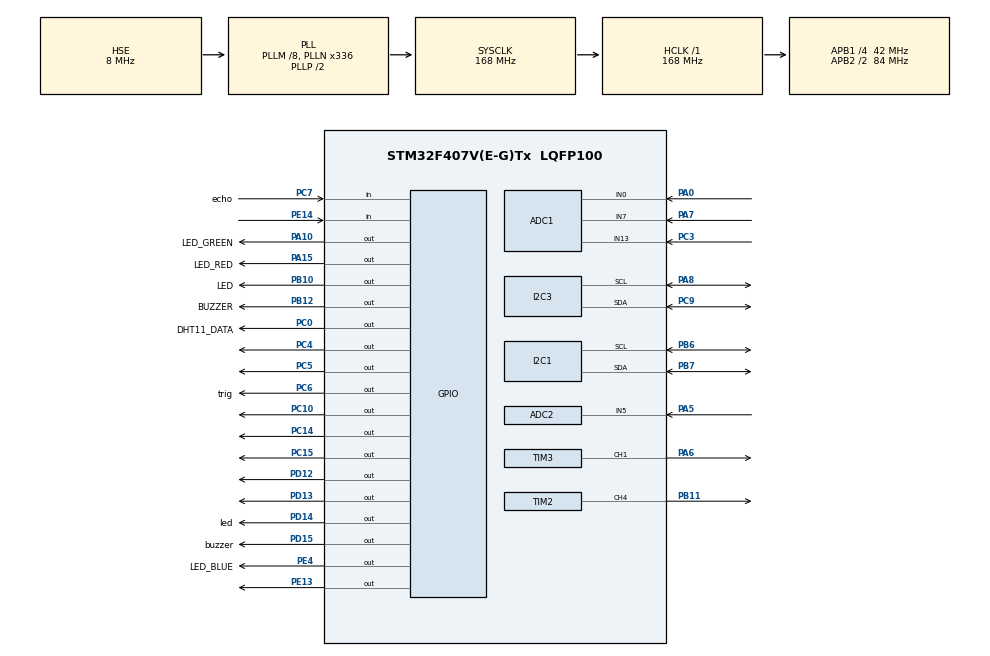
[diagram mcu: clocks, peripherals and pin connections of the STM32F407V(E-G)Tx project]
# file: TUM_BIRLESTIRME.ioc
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ADC1.Channel-0\#ChannelRegularConversion=ADC_CHANNEL_13
ADC1.ContinuousConvMode=ENABLE
ADC1.NbrOfConversionFlag=1
ADC1.Rank-0\#ChannelRegularConversion=1
ADC1.SamplingTime-0\#ChannelRegularConversion=ADC_SAMPLETIME_56CYCLES
ADC1.master=1
ADC2.Channel-0\#ChannelRegularConversion=ADC_CHANNEL_5
ADC2.ContinuousConvMode=ENABLE
ADC2.NbrOfConversionFlag=1
ADC2.Rank-0\#ChannelRegularConversion=1
ADC2.SamplingTime-0\#ChannelRegularConversion=ADC_SAMPLETIME_480CYCLES
Mcu.Family=STM32F4
Mcu.Name=STM32F407V(E-G)Tx
Mcu.Package=LQFP100
NVIC.PriorityGroup=NVIC_PRIORITYGROUP_4
PA0-WKUP.Signal=ADCx_IN0
PA10.GPIO_Label=LED_GREEN
PA10.Signal=GPIO_Output
PA13.Mode=Serial_Wire
PA13.Signal=SYS_JTMS-SWDIO
PA14.Mode=Serial_Wire
PA14.Signal=SYS_JTCK-SWCLK
PA15.GPIO_Label=LED_RED
PA15.Signal=GPIO_Output
PA5.Signal=ADCx_IN5
PA6.Signal=S_TIM3_CH1
PA7.Signal=ADCx_IN7
PA8.Mode=I2C
PA8.Signal=I2C3_SCL
PB10.GPIO_Label=LED
PB10.Signal=GPIO_Output
PB11.Signal=S_TIM2_CH4
PB12.GPIO_Label=BUZZER
PB12.Signal=GPIO_Output
PB6.Mode=I2C
PB6.Signal=I2C1_SCL
PB7.Mode=I2C
PB7.Signal=I2C1_SDA
PC0.GPIO_Label=DHT11_DATA
PC0.GPIO_PuPd=GPIO_PULLUP
PC0.Signal=GPIO_Output
PC10.Signal=GPIO_Output
PC14-OSC32_IN.Signal=GPIO_Output
PC15-OSC32_OUT.Signal=GPIO_Output
PC3.Signal=ADCx_IN13
PC4.Signal=GPIO_Output
PC5.Signal=GPIO_Output
PC6.GPIO_Label=trig
PC6.Signal=GPIO_Output
PC7.GPIO_Label=echo
PC7.GPIO_PuPd=GPIO_PULLDOWN
PC7.Signal=GPIO_Input
PC9.Mode=I2C
PC9.Signal=I2C3_SDA
PD12.Signal=GPIO_Output
PD13.Signal=GPIO_Output
PD14.GPIO_Label=led
PD14.Signal=GPIO_Output
PD15.GPIO_Label=buzzer
PD15.Signal=GPIO_Output
PE13.Signal=GPIO_Output
PE14.GPIO_PuPd=GPIO_PULLDOWN
PE14.Signal=GPIO_Input
PE4.GPIO_Label=LED_BLUE
PE4.Signal=GPIO_Output
PH0-OSC_IN.Mode=HSE-External-Oscillator
PH0-OSC_IN.Signal=RCC_OSC_IN
PH1-OSC_OUT.Mode=HSE-External-Oscillator
PH1-OSC_OUT.Signal=RCC_OSC_OUT
ProjectManager.HeapSize=0x200
ProjectManager.StackSize=0x400
ProjectManager.TargetToolchain=STM32CubeIDE
RCC.48MHZClocksFreq_Value=84000000
RCC.AHBFreq_Value=168000000
RCC.APB1CLKDivider=RCC_HCLK_DIV4
RCC.APB1Freq_Value=42000000
RCC.APB1TimFreq_Value=84000000
RCC.APB2CLKDivider=RCC_HCLK_DIV2
RCC.APB2Freq_Value=84000000
RCC.APB2TimFreq_Value=168000000
RCC.CortexFreq_Value=168000000
RCC.HCLKFreq_Value=168000000
RCC.HSE_VALUE=8000000
RCC.HSI_VALUE=16000000
RCC.LSE_VALUE=32768
RCC.PLLM=8
RCC.PLLN=336
RCC.PLLSourceVirtual=RCC_PLLSOURCE_HSE
RCC.SYSCLKFreq_VALUE=168000000
RCC.SYSCLKSource=RCC_SYSCLKSOURCE_PLLCLK
RCC.VCOOutputFreq_Value=336000000
SH.ADCx_IN0.0=ADC1_IN0,IN0
SH.ADCx_IN13.0=ADC1_IN13,IN13
SH.ADCx_IN5.0=ADC2_IN5,IN5
SH.ADCx_IN7.0=ADC1_IN7,IN7
SH.S_TIM2_CH4.0=TIM2_CH4,PWM Generation4 CH4
SH.S_TIM3_CH1.0=TIM3_CH1,PWM Generation1 CH1
TIM2.AutoReloadPreload=TIM_AUTORELOAD_PRELOAD_ENABLE
TIM2.Channel-PWM\ Generation4\ CH4=TIM_CHANNEL_4
TIM2.Period=19999
TIM2.Prescaler=83
TIM2.Pulse-PWM\ Generation4\ CH4=1500
TIM3.AutoReloadPreload=TIM_AUTORELOAD_PRELOAD_ENABLE
TIM3.Channel-PWM\ Generation1\ CH1=TIM_CHANNEL_1
TIM3.Period=19999
TIM3.Prescaler=83
TIM3.Pulse-PWM\ Generation1\ CH1=1500
VP_TIM2_VS_ClockSourceINT.Mode=Internal
VP_TIM3_VS_ClockSourceINT.Mode=Internal
board=custom

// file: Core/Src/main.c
/* USER CODE BEGIN Header */
/**
  ******************************************************************************
  * @file           : main.c
  * @brief          : Main program body
  ******************************************************************************
  * @attention
  *
  * Copyright (c) 2025 STMicroelectronics.
  * All rights reserved.
  *
  * This software is licensed under terms that can be found in the LICENSE file
  * in the root directory of this software component.
  * If no LICENSE file comes with this software, it is provided AS-IS.
  *
  ******************************************************************************
  */
/* USER CODE END Header */
#include "main.h"
#include "stdio.h"
#include "string.h"
#include "us_delay.h"
#include "stm32f4xx_hal_i2c.h"
#include "stm32f4xx_hal_adc.h"
#include "stm32f4xx_hal_gpio.h"
#include <math.h>

/* USER CODE BEGIN PD */
#define FILTER_SAMPLES 5
#define MPU6050_1_ADDR 0xD0
#define PWR_MGMT_1_REG 0x6B
#define SMPLRT_DIV_REG 0x19
#define ACCEL_CONFIG_REG 0x1C
#define ACCEL_XOUT_H_REG 0x3B
#define WHO_AM_I_REG 0x75

// Duruş eşik değerleri
#define FORWARD_THRESHOLD -0.8
#define BACKWARD_THRESHOLD 0.8
#define SIDE_THRESHOLD 0.5

#define GAS_THRESHOLD 2000 // Gaz eşik değeri

// Sıcaklık eşik değerleri
#define TEMP_HIGH_THRESHOLD 30.0   // Kırmızı LED'in yanacağı sıcaklık
#define TEMP_LOW_THRESHOLD 15.0    // Mavi LED'in yanacağı sıcaklık
#define MAX_RESPONSE_TRIES 5       // Yanıt için deneme sayısı
#define WATER_THRESHOLD 2000       // Su seviyesi eşiği
#define SERVO_MIN 500             // 1ms pulse (0°)
#define SERVO_MAX 2500            // 2ms pulse (180°)
//deprem
#define GYRO_CONFIG_REG 0x1B
#define MPU6050_2_ADDR (0x68 << 1)  // I2C address for MPU6050
// Threshold definitions
#define EARTHQUAKE_THRESHOLD 1.5f  // g value
#define SOIL_THRESHOLD 2000        // ADC value
#define FULL_DISTANCE 5            // cm (for trash bin)
#define LDR_THRESHOLD 2000         // ADC value (for lighting)
#define TIMEOUT_DURATION 30000     // ms (15 seconds for lighting)

/* USER CODE END PD */

ADC_HandleTypeDef hadc1;
ADC_HandleTypeDef hadc2;

I2C_HandleTypeDef hi2c1;
I2C_HandleTypeDef hi2c3;

TIM_HandleTypeDef htim2;
TIM_HandleTypeDef htim3;

/* USER CODE BEGIN PV */
typedef struct {
float Accel_X;
float Accel_Y;
float Accel_Z;
} MPU6050_t;

MPU6050_t MPU6050_1;
MPU6050_t MPU6050_2;
float filter_buffer[FILTER_SAMPLES][3];
uint8_t filter_index = 0;
uint16_t gas_value = 0;
uint8_t gas_leak_detected = 0;
float temperature = 0, humidity = 0;

uint8_t earthquake_detected = 0;
uint8_t motionDetected = 0;
uint32_t motionDetectedTime = 0;

/* USER CODE END PV */

void SystemClock_Config(void);
static void MX_GPIO_Init(void);
static void MX_I2C3_Init(void);
static void MX_ADC1_Init(void);
static void MX_ADC2_Init(void);
static void MX_I2C1_Init(void);
static void MX_TIM2_Init(void);
static void MX_TIM3_Init(void);
/* USER CODE BEGIN PFP */
void MPU6050_1_Write_Byte(uint8_t reg, uint8_t data);
void MPU6050_1_Init(void);
void MPU6050_1_Read_All(void);
uint8_t MPU6050_1_Read_Byte(uint8_t reg);
void apply_filter(float *x, float *y, float *z);
void alert_user(uint8_t state);
void check_posture(float x, float y);
void Servo_SetAngle(uint16_t angle);
void DHT11_Start(void);
uint8_t DHT11_Check_Response(void);
uint8_t DHT11_Read(void);
void Read_DHT11(float *temperature, float *humidity);
void setServoAngle(uint16_t angle);

void MPU6050_2_Init(void);
void MPU6050_2_Read_Accel(float *ax, float *ay, float *az);

/* Soil Moisture Functions */
uint32_t Read_Soil_Sensor(void);

/* Trash Bin Functions */
void enable_DWT(void);
void delay_us(uint32_t us);
float get_distance_no_timer(void);

/* Lighting Functions */
uint16_t Read_ADC(ADC_HandleTypeDef*hadc2);

/* USER CODE END PFP */

/* USER CODE BEGIN 0 */
void MPU6050_1_Write_Byte(uint8_t reg, uint8_t data) {
    HAL_I2C_Mem_Write(&hi2c3, MPU6050_1_ADDR, reg, 1, &data, 1, 100);
}

void apply_filter(float *x, float *y, float *z) {
    filter_buffer[filter_index][0] = *x;
    filter_buffer[filter_index][1] = *y;
    filter_buffer[filter_index][2] = *z;
    filter_index = (filter_index + 1) % FILTER_SAMPLES;

    float sum_x = 0, sum_y = 0, sum_z = 0;
    for(int i = 0; i < FILTER_SAMPLES; i++) {
        sum_x += filter_buffer[i][0];
        sum_y += filter_buffer[i][1];
        sum_z += filter_buffer[i][2];
    }

    *x = sum_x / FILTER_SAMPLES;
    *y = sum_y / FILTER_SAMPLES;
    *z = sum_z / FILTER_SAMPLES;
}

void MPU6050_1_Init(void) {
    // MPU6050 reset
    MPU6050_1_Write_Byte(PWR_MGMT_1_REG, 0x80);
    HAL_Delay(100);
    // WHO_AM_I kontrolü
    uint8_t who_am_i = MPU6050_1_Read_Byte(WHO_AM_I_REG);
    if(who_am_i != 0x68) {
        Error_Handler(); // Sensör bulunamadı
    }
    // Wake up device
    MPU6050_1_Write_Byte(PWR_MGMT_1_REG, 0x00);
    // Set sample rate
    MPU6050_1_Write_Byte(SMPLRT_DIV_REG, 0x07);
    // Configure accelerometer
    MPU6050_1_Write_Byte(ACCEL_CONFIG_REG, 0x00);
}

void MPU6050_1_Read_All(void) {
    uint8_t Rec_Data[6];

    HAL_I2C_Mem_Read(&hi2c3, MPU6050_1_ADDR, ACCEL_XOUT_H_REG, 1, Rec_Data, 6, 100);

    MPU6050_1.Accel_X = (int16_t)(Rec_Data[0] << 8 | Rec_Data[1]) / 16384.0;
    MPU6050_1.Accel_Y = (int16_t)(Rec_Data[2] << 8 | Rec_Data[3]) / 16384.0;
    MPU6050_1.Accel_Z = (int16_t)(Rec_Data[4] << 8 | Rec_Data[5]) / 16384.0;
}

uint8_t MPU6050_1_Read_Byte(uint8_t reg) {
    uint8_t data;
    HAL_I2C_Mem_Read(&hi2c3, MPU6050_1_ADDR, reg, 1, &data, 1, 1000);
    return data;
}

void alert_user(uint8_t state) {
    // LED ve buzzer kontrolü
    HAL_GPIO_WritePin(GPIOC, GPIO_PIN_14, state ? GPIO_PIN_SET : GPIO_PIN_RESET); // LED
    HAL_GPIO_WritePin(GPIOC, GPIO_PIN_15, state ? GPIO_PIN_SET : GPIO_PIN_RESET); // Buzzer
}

void check_posture(float x, float y) {
    // Tüm yanlış duruşları tek koşulda kontrol et
    uint8_t bad_posture = (y < FORWARD_THRESHOLD) ||   // Öne eğilme
                         (y > BACKWARD_THRESHOLD) ||   // Arkaya yaslanma
                         (x < -SIDE_THRESHOLD) ||      // Sola eğilme
                         (x > SIDE_THRESHOLD);         // Sağa eğilme

    alert_user(bad_posture);
}

void Servo_SetAngle(uint16_t angle) {
    uint16_t pulse = 500 + (angle * 2000) / 180;
    __HAL_TIM_SET_COMPARE(&htim3, TIM_CHANNEL_1, pulse);
}

void DHT11_Start(void) {
    GPIO_InitTypeDef GPIO_InitStruct = {0};

    GPIO_InitStruct.Pin = DHT11_DATA_Pin;
    GPIO_InitStruct.Mode = GPIO_MODE_OUTPUT_PP;
    GPIO_InitStruct.Pull = GPIO_PULLUP;
    GPIO_InitStruct.Speed = GPIO_SPEED_FREQ_LOW;
    HAL_GPIO_Init(DHT11_DATA_GPIO_Port, &GPIO_InitStruct);

    HAL_GPIO_WritePin(DHT11_DATA_GPIO_Port, DHT11_DATA_Pin, GPIO_PIN_RESET);
    HAL_Delay(18);

    HAL_GPIO_WritePin(DHT11_DATA_GPIO_Port, DHT11_DATA_Pin, GPIO_PIN_SET);

    GPIO_InitStruct.Pin = DHT11_DATA_Pin;
    GPIO_InitStruct.Mode = GPIO_MODE_INPUT;
    GPIO_InitStruct.Pull = GPIO_PULLUP;
    HAL_GPIO_Init(DHT11_DATA_GPIO_Port, &GPIO_InitStruct);
}

uint8_t DHT11_Check_Response(void) {
    uint32_t timeout = 10000;

    while(HAL_GPIO_ReadPin(DHT11_DATA_GPIO_Port, DHT11_DATA_Pin) == GPIO_PIN_SET && timeout--);
    if(timeout == 0) return 0;

    timeout = 10000;
    while(HAL_GPIO_ReadPin(DHT11_DATA_GPIO_Port, DHT11_DATA_Pin) == GPIO_PIN_RESET && timeout--);
    if(timeout == 0) return 0;

    return 1;
}

uint8_t DHT11_Read(void) {
    uint8_t value = 0;

    for(int i=0; i<8; i++) {
        while(HAL_GPIO_ReadPin(DHT11_DATA_GPIO_Port, DHT11_DATA_Pin) == GPIO_PIN_RESET);

        HAL_Delay_us(40);
        if(HAL_GPIO_ReadPin(DHT11_DATA_GPIO_Port, DHT11_DATA_Pin) == GPIO_PIN_SET) {
            value |= (1 << (7-i));
        }

        while(HAL_GPIO_ReadPin(DHT11_DATA_GPIO_Port, DHT11_DATA_Pin) == GPIO_PIN_SET);
    }

    return value;
}

void Read_DHT11(float *temperature, float *humidity) {
    uint8_t data[5] = {0};

    DHT11_Start();
    // Sensör yanıt verene kadar bekle (ilk başta uykuda olabilir)
    while (!DHT11_Check_Response()) {
        HAL_Delay(100);  // 100 ms bekle
        DHT11_Start();   // tekrar başlat
    }

    data[0] = DHT11_Read();
    data[1] = DHT11_Read();
    data[2] = DHT11_Read();
    data[3] = DHT11_Read();
    data[4] = DHT11_Read();

    if(data[4] == (data[0] + data[1] + data[2] + data[3])) {
        *humidity = data[0];
        *temperature = data[2];
    }
}

void setServoAngle(uint16_t angle) {
    // Açıyı pulse süresine çevir (500-2500µs aralığı)
    uint16_t pulse = SERVO_MIN + (angle * (SERVO_MAX - SERVO_MIN) / 180);
    __HAL_TIM_SET_COMPARE(&htim2, TIM_CHANNEL_4, pulse);  // TIM2_CH4 kullanılıyor
}

/* MPU6050 Implementation */
void MPU6050_2_Init() {
    uint8_t check;
   uint8_t data=0;
    HAL_I2C_Mem_Write(&hi2c1, MPU6050_2_ADDR, ACCEL_CONFIG_REG, 1, &data, 1, 1000);
    HAL_I2C_Mem_Read(&hi2c1, MPU6050_2_ADDR, WHO_AM_I_REG, 1, &check, 1, 1000);

    if (check == 0x68) {
        data = 0;
        HAL_I2C_Mem_Write(&hi2c1, MPU6050_2_ADDR, PWR_MGMT_1_REG, 1, &data, 1, 1000);
        data = 0x07;
        HAL_I2C_Mem_Write(&hi2c1, MPU6050_2_ADDR, SMPLRT_DIV_REG, 1, &data, 1, 1000);
        data = 0x00;
        HAL_I2C_Mem_Write(&hi2c1, MPU6050_2_ADDR, ACCEL_CONFIG_REG, 1, &data, 1, 1000);
    } else {
        HAL_GPIO_WritePin(GPIOD, GPIO_PIN_14, GPIO_PIN_SET); // Error LED
        while (1);
    }
}

void MPU6050_2_Read_Accel(float *ax, float *ay, float *az) {
    uint8_t recData[6];
    HAL_I2C_Mem_Read(&hi2c1, MPU6050_2_ADDR, ACCEL_XOUT_H_REG, 1, recData, 6, 1000);
    *ax = (int16_t)(recData[0] << 8 | recData[1]) / 16384.0;
    *ay = (int16_t)(recData[2] << 8 | recData[3]) / 16384.0;
    *az = (int16_t)(recData[4] << 8 | recData[5]) / 16384.0;
}

/* Soil Moisture Implementation */
uint32_t Read_Soil_Sensor(void) {
    uint32_t sum = 0;
    for (int i = 0; i < 10; i++) {
        HAL_ADC_Start(&hadc1);
        HAL_ADC_PollForConversion(&hadc1, 10);
        sum += HAL_ADC_GetValue(&hadc1);
    }
    HAL_ADC_Stop(&hadc1);
    return sum / 10;
}

/* Trash Bin Implementation */
void enable_DWT() {
    CoreDebug->DEMCR |= CoreDebug_DEMCR_TRCENA_Msk;
    DWT->CYCCNT = 0;
    DWT->CTRL |= DWT_CTRL_CYCCNTENA_Msk;
}

void delay_us(uint32_t us) {
    uint32_t start = DWT->CYCCNT;
    uint32_t cycles = us * (SystemCoreClock / 1000000);
    while ((DWT->CYCCNT - start) < cycles);
}

float get_distance_no_timer() {
    uint32_t timeout = 0;
    uint32_t pulse_start = 0, pulse_end = 0;

    // Send TRIG signal
    HAL_GPIO_WritePin(trig_GPIO_Port, trig_Pin, GPIO_PIN_SET);
    delay_us(10);
    HAL_GPIO_WritePin(trig_GPIO_Port,trig_Pin, GPIO_PIN_RESET);

    // Wait for ECHO rising edge
    timeout = 100000;
    while(HAL_GPIO_ReadPin(echo_GPIO_Port, echo_Pin) == GPIO_PIN_RESET) {
        if(timeout-- == 0) return -1;
        delay_us(1);
    }
    pulse_start = DWT->CYCCNT;

    // Wait for ECHO falling edge
    timeout = 100000;
    while(HAL_GPIO_ReadPin(echo_GPIO_Port, echo_Pin) == GPIO_PIN_SET) {
        if(timeout-- == 0) return -1;
    }
    pulse_end = DWT->CYCCNT;

    // Calculate distance
    uint32_t pulse_cycles = pulse_end - pulse_start;
    float pulse_us = pulse_cycles / (SystemCoreClock / 1000000.0f);
    return (pulse_us * 0.0343) / 2;
}
uint16_t Read_ADC(ADC_HandleTypeDef* hadc2) {

ADC_ChannelConfTypeDef sConfig = {0};

sConfig.Channel = ADC_CHANNEL_5;

sConfig.Rank = 1;

sConfig.SamplingTime = ADC_SAMPLETIME_480CYCLES;

HAL_ADC_ConfigChannel(hadc2, &sConfig);

HAL_ADC_Start(hadc2);

HAL_ADC_PollForConversion(hadc2, HAL_MAX_DELAY);

return HAL_ADC_GetValue(hadc2);

}

/* USER CODE END 0 */

int main(void)
{

  /* USER CODE BEGIN 1 */
	  enable_DWT();
  /* USER CODE END 1 */

  /* MCU Configuration--------------------------------------------------------*/

  /* Reset of all peripherals, Initializes the Flash interface and the Systick. */
  HAL_Init();

  /* USER CODE BEGIN Init */
  CoreDebug->DEMCR |= CoreDebug_DEMCR_TRCENA_Msk;
    DWT->CTRL |= DWT_CTRL_CYCCNTENA_Msk;

  /* USER CODE END Init */

  /* Configure the system clock */
  SystemClock_Config();

  /* Initialize all configured peripherals */
  MX_GPIO_Init();
  MX_I2C3_Init();
  MX_ADC1_Init();
  MX_ADC2_Init();
  MX_I2C1_Init();
  MX_TIM2_Init();
  MX_TIM3_Init();
  /* USER CODE BEGIN 2 */
  // MPU6050 ve filtre başlatma
   memset(filter_buffer, 0, sizeof(filter_buffer));
   MPU6050_1_Init();
   MPU6050_2_Init();
   // PWM başlat
   HAL_TIM_PWM_Start(&htim3, TIM_CHANNEL_1);
   HAL_TIM_PWM_Start(&htim2, TIM_CHANNEL_4);  // Servo PWM başlat
   HAL_ADC_Start(&hadc1);                     // ADC başlat
   setServoAngle(90);                         // Başlangıçta musluk açık konum
   Servo_SetAngle(90);

  /* USER CODE END 2 */

  /* Infinite loop */
  /* USER CODE BEGIN WHILE */
  while (1)
  { // MPU6050 işlemleri
      MPU6050_1_Read_All();
      float x = MPU6050_1.Accel_X;
      float y = MPU6050_1.Accel_Y;
      float z = MPU6050_1.Accel_Z;
      apply_filter(&x, &y, &z);
      check_posture(x, y);
      // 2. Gaz Sensörü (ADC_CHANNEL_13)
      HAL_ADC_Stop(&hadc1); // Önce ADC'yi durdur
       ADC_ChannelConfTypeDef sConfig = {0};
       sConfig.Channel = ADC_CHANNEL_13;
       sConfig.Rank = 1;
       sConfig.SamplingTime = ADC_SAMPLETIME_56CYCLES;
       HAL_ADC_ConfigChannel(&hadc1, &sConfig);
       HAL_ADC_Start(&hadc1);
      if (HAL_ADC_PollForConversion(&hadc1, 10) == HAL_OK) {
          gas_value = HAL_ADC_GetValue(&hadc1);
          if(gas_value > GAS_THRESHOLD) {
              gas_leak_detected = 1;
              Servo_SetAngle(90); // Pencere açık
              HAL_GPIO_WritePin(GPIOC, GPIO_PIN_10, GPIO_PIN_SET); // BUZZER AÇ
          } else {
              gas_leak_detected = 0;
              Servo_SetAngle(0); // Pencere kapalı
              HAL_GPIO_WritePin(GPIOC, GPIO_PIN_10, GPIO_PIN_RESET); // BUZZER KAPAT
          }
      }
      HAL_ADC_Stop(&hadc1); // Gaz ölçümü bitti

      // DHT11'den sıcaklık ve nem ölçümü
      Read_DHT11(&temperature, &humidity);

      // LED kontrolü (sıcaklık)
      HAL_GPIO_WritePin(LED_GREEN_GPIO_Port, LED_GREEN_Pin, GPIO_PIN_RESET);
      HAL_GPIO_WritePin(LED_BLUE_GPIO_Port, LED_BLUE_Pin, GPIO_PIN_RESET);
      HAL_GPIO_WritePin(LED_RED_GPIO_Port, LED_RED_Pin, GPIO_PIN_RESET);

      if(temperature > TEMP_HIGH_THRESHOLD) {
          HAL_GPIO_WritePin(LED_RED_GPIO_Port, LED_RED_Pin, GPIO_PIN_SET);
      } else if(temperature < TEMP_LOW_THRESHOLD) {
          HAL_GPIO_WritePin(LED_BLUE_GPIO_Port, LED_BLUE_Pin, GPIO_PIN_SET);
      } else {
          HAL_GPIO_WritePin(LED_GREEN_GPIO_Port, LED_GREEN_Pin, GPIO_PIN_SET);
      }
      // Su seviyesi kontrolü (ADC_CHANNEL_7)
          HAL_ADC_Stop(&hadc1); // Önce ADC'yi durdur
          sConfig.Channel = ADC_CHANNEL_7;
          sConfig.Rank = 1;
          sConfig.SamplingTime = ADC_SAMPLETIME_56CYCLES;
          HAL_ADC_ConfigChannel(&hadc1, &sConfig);
          HAL_ADC_Start(&hadc1);
      if (HAL_ADC_PollForConversion(&hadc1, 100) == HAL_OK) {
          uint32_t adcValue = HAL_ADC_GetValue(&hadc1);

          if (adcValue > WATER_THRESHOLD) {
              // Alarm aktif (su var)
              HAL_GPIO_WritePin(LED_GPIO_Port, LED_Pin, GPIO_PIN_SET);  // LED YANIK
              HAL_GPIO_WritePin(BUZZER_GPIO_Port, BUZZER_Pin, GPIO_PIN_SET); // Buzzer açık
              setServoAngle(0);
          } else {
              // Normal durum (su yok)
              HAL_GPIO_WritePin(LED_GPIO_Port, LED_Pin, GPIO_PIN_RESET);  // LED SÖNÜK
              HAL_GPIO_WritePin(BUZZER_GPIO_Port, BUZZER_Pin, GPIO_PIN_RESET); // Buzzer kapalı
              setServoAngle(90);  // Musluk açık
          }
      }
      HAL_ADC_Stop(&hadc1);

      HAL_Delay(100); // 100ms bekleme

      float ax, ay, az;
      uint32_t soil_moisture;
      MPU6050_2_Read_Accel(&ax, &ay, &az);
      float total_accel = sqrt(ax*ax + ay*ay + az*az);

      if (total_accel > EARTHQUAKE_THRESHOLD) {
          earthquake_detected = 1;
          HAL_GPIO_WritePin(GPIOD, GPIO_PIN_13, GPIO_PIN_SET);  // Earthquake LED
          HAL_GPIO_WritePin(GPIOD, GPIO_PIN_12, GPIO_PIN_SET);  // Earthquake Buzzer
      }
      else if (earthquake_detected) {
          earthquake_detected = 0;
          HAL_GPIO_WritePin(GPIOD, GPIO_PIN_12, GPIO_PIN_RESET);
          HAL_GPIO_WritePin(GPIOD, GPIO_PIN_13, GPIO_PIN_RESET);
      }
      HAL_ADC_Stop(&hadc1); // Önce ADC'yi durdur
               sConfig.Channel = ADC_CHANNEL_0;
               sConfig.Rank = 1;
               sConfig.SamplingTime = ADC_SAMPLETIME_56CYCLES;
               HAL_ADC_ConfigChannel(&hadc1, &sConfig);
               HAL_ADC_Start(&hadc1);
      // 2. Soil Moisture Monitoring System
     soil_moisture = Read_Soil_Sensor();
      if (soil_moisture > SOIL_THRESHOLD) {
          HAL_GPIO_WritePin(GPIOC, GPIO_PIN_4, GPIO_PIN_SET);   // Moisture LED
          HAL_GPIO_WritePin(GPIOC, GPIO_PIN_5, GPIO_PIN_SET);   // Moisture Buzzer
      }
      else {
          HAL_GPIO_WritePin(GPIOC, GPIO_PIN_4, GPIO_PIN_RESET);
          HAL_GPIO_WritePin(GPIOC, GPIO_PIN_5, GPIO_PIN_RESET);
      }

      // 3. Trash Bin Level Detection System
      float distance = get_distance_no_timer();
      if(distance > 0 && distance < FULL_DISTANCE) {
          HAL_GPIO_WritePin(led_GPIO_Port, led_Pin, GPIO_PIN_SET);  // Trash LED
          HAL_GPIO_WritePin(buzzer_GPIO_Port, buzzer_Pin, GPIO_PIN_SET); // Trash Buzzer
          HAL_Delay(500);
          HAL_GPIO_WritePin(buzzer_GPIO_Port, buzzer_Pin, GPIO_PIN_RESET);
          HAL_Delay(500);
      }
      else {
          HAL_GPIO_WritePin(led_GPIO_Port, led_Pin, GPIO_PIN_RESET);
          HAL_GPIO_WritePin(buzzer_GPIO_Port, buzzer_Pin, GPIO_PIN_RESET);
      }

      // 4. Lighting Control System
      uint16_t ldrValue = Read_ADC(&hadc2); // LDR değerini oku
      uint8_t currentPIRState = HAL_GPIO_ReadPin(GPIOE, GPIO_PIN_14); // PIR durumunu oku
      uint32_t currentTime = HAL_GetTick();

      // DEBUG için seri port çıktısı (HAL_UART kullanarak)
      // printf("LDR: %d, PIR: %d\n", ldrValue, currentPIRState);

      // SADECE karanlıkta VE hareket varsa LED'i yak
      if (ldrValue < LDR_THRESHOLD && currentPIRState == GPIO_PIN_SET) {
          HAL_GPIO_WritePin(GPIOE, GPIO_PIN_13, GPIO_PIN_SET); // LED ON
          motionDetectedTime = currentTime; // Zamanı güncelle
      }
      // Diğer tüm durumlarda LED'i söndür
      else {
          HAL_GPIO_WritePin(GPIOE, GPIO_PIN_13, GPIO_PIN_RESET); // LED OFF
      }
      // Timeout kontrolü (opsiyonel, 15 saniye sonra LED'i söndürür)
      if (currentTime - motionDetectedTime >= TIMEOUT_DURATION) {
          HAL_GPIO_WritePin(GPIOE, GPIO_PIN_13, GPIO_PIN_RESET);
      }
      HAL_Delay(100); // Common delay for all systems

    /* USER CODE END WHILE */

  }
}

void SystemClock_Config(void)
{
  RCC_OscInitTypeDef RCC_OscInitStruct = {0};
  RCC_ClkInitTypeDef RCC_ClkInitStruct = {0};

  /** Configure the main internal regulator output voltage
  */
  __HAL_RCC_PWR_CLK_ENABLE();
  __HAL_PWR_VOLTAGESCALING_CONFIG(PWR_REGULATOR_VOLTAGE_SCALE1);

  /** Initializes the RCC Oscillators according to the specified parameters
  * in the RCC_OscInitTypeDef structure.
  */
  RCC_OscInitStruct.OscillatorType = RCC_OSCILLATORTYPE_HSE;
  RCC_OscInitStruct.HSEState = RCC_HSE_ON;
  RCC_OscInitStruct.PLL.PLLState = RCC_PLL_ON;
  RCC_OscInitStruct.PLL.PLLSource = RCC_PLLSOURCE_HSE;
  RCC_OscInitStruct.PLL.PLLM = 8;
  RCC_OscInitStruct.PLL.PLLN = 336;
  RCC_OscInitStruct.PLL.PLLP = RCC_PLLP_DIV2;
  RCC_OscInitStruct.PLL.PLLQ = 4;
  if (HAL_RCC_OscConfig(&RCC_OscInitStruct) != HAL_OK)
  {
    Error_Handler();
  }

  /** Initializes the CPU, AHB and APB buses clocks
  */
  RCC_ClkInitStruct.ClockType = RCC_CLOCKTYPE_HCLK|RCC_CLOCKTYPE_SYSCLK
                              |RCC_CLOCKTYPE_PCLK1|RCC_CLOCKTYPE_PCLK2;
  RCC_ClkInitStruct.SYSCLKSource = RCC_SYSCLKSOURCE_PLLCLK;
  RCC_ClkInitStruct.AHBCLKDivider = RCC_SYSCLK_DIV1;
  RCC_ClkInitStruct.APB1CLKDivider = RCC_HCLK_DIV4;
  RCC_ClkInitStruct.APB2CLKDivider = RCC_HCLK_DIV2;

  if (HAL_RCC_ClockConfig(&RCC_ClkInitStruct, FLASH_LATENCY_5) != HAL_OK)
  {
    Error_Handler();
  }
}

static void MX_ADC1_Init(void)
{

  ADC_ChannelConfTypeDef sConfig = {0};

  /** Configure the global features of the ADC (Clock, Resolution, Data Alignment and number of conversion)
  */
  hadc1.Instance = ADC1;
  hadc1.Init.ClockPrescaler = ADC_CLOCK_SYNC_PCLK_DIV4;
  hadc1.Init.Resolution = ADC_RESOLUTION_12B;
  hadc1.Init.ScanConvMode = DISABLE;
  hadc1.Init.ContinuousConvMode = ENABLE;
  hadc1.Init.DiscontinuousConvMode = DISABLE;
  hadc1.Init.ExternalTrigConvEdge = ADC_EXTERNALTRIGCONVEDGE_NONE;
  hadc1.Init.ExternalTrigConv = ADC_SOFTWARE_START;
  hadc1.Init.DataAlign = ADC_DATAALIGN_RIGHT;
  hadc1.Init.NbrOfConversion = 1;
  hadc1.Init.DMAContinuousRequests = DISABLE;
  hadc1.Init.EOCSelection = ADC_EOC_SINGLE_CONV;
  if (HAL_ADC_Init(&hadc1) != HAL_OK)
  {
    Error_Handler();
  }

  /** Configure for the selected ADC regular channel its corresponding rank in the sequencer and its sample time.
  */
  sConfig.Channel = ADC_CHANNEL_13;
  sConfig.Rank = 1;
  sConfig.SamplingTime = ADC_SAMPLETIME_56CYCLES;
  if (HAL_ADC_ConfigChannel(&hadc1, &sConfig) != HAL_OK)
  {
    Error_Handler();
  }

}

static void MX_ADC2_Init(void)
{

  ADC_ChannelConfTypeDef sConfig = {0};

  /** Configure the global features of the ADC (Clock, Resolution, Data Alignment and number of conversion)
  */
  hadc2.Instance = ADC2;
  hadc2.Init.ClockPrescaler = ADC_CLOCK_SYNC_PCLK_DIV4;
  hadc2.Init.Resolution = ADC_RESOLUTION_12B;
  hadc2.Init.ScanConvMode = DISABLE;
  hadc2.Init.ContinuousConvMode = ENABLE;
  hadc2.Init.DiscontinuousConvMode = DISABLE;
  hadc2.Init.ExternalTrigConvEdge = ADC_EXTERNALTRIGCONVEDGE_NONE;
  hadc2.Init.ExternalTrigConv = ADC_SOFTWARE_START;
  hadc2.Init.DataAlign = ADC_DATAALIGN_RIGHT;
  hadc2.Init.NbrOfConversion = 1;
  hadc2.Init.DMAContinuousRequests = DISABLE;
  hadc2.Init.EOCSelection = ADC_EOC_SINGLE_CONV;
  if (HAL_ADC_Init(&hadc2) != HAL_OK)
  {
    Error_Handler();
  }

  /** Configure for the selected ADC regular channel its corresponding rank in the sequencer and its sample time.
  */
  sConfig.Channel = ADC_CHANNEL_5;
  sConfig.Rank = 1;
  sConfig.SamplingTime = ADC_SAMPLETIME_480CYCLES;
  if (HAL_ADC_ConfigChannel(&hadc2, &sConfig) != HAL_OK)
  {
    Error_Handler();
  }

}

static void MX_I2C1_Init(void)
{

  hi2c1.Instance = I2C1;
  hi2c1.Init.ClockSpeed = 100000;
  hi2c1.Init.DutyCycle = I2C_DUTYCYCLE_2;
  hi2c1.Init.OwnAddress1 = 0;
  hi2c1.Init.AddressingMode = I2C_ADDRESSINGMODE_7BIT;
  hi2c1.Init.DualAddressMode = I2C_DUALADDRESS_DISABLE;
  hi2c1.Init.OwnAddress2 = 0;
  hi2c1.Init.GeneralCallMode = I2C_GENERALCALL_DISABLE;
  hi2c1.Init.NoStretchMode = I2C_NOSTRETCH_DISABLE;
  if (HAL_I2C_Init(&hi2c1) != HAL_OK)
  {
    Error_Handler();
  }

}

static void MX_I2C3_Init(void)
{

  hi2c3.Instance = I2C3;
  hi2c3.Init.ClockSpeed = 100000;
  hi2c3.Init.DutyCycle = I2C_DUTYCYCLE_2;
  hi2c3.Init.OwnAddress1 = 0;
  hi2c3.Init.AddressingMode = I2C_ADDRESSINGMODE_7BIT;
  hi2c3.Init.DualAddressMode = I2C_DUALADDRESS_DISABLE;
  hi2c3.Init.OwnAddress2 = 0;
  hi2c3.Init.GeneralCallMode = I2C_GENERALCALL_DISABLE;
  hi2c3.Init.NoStretchMode = I2C_NOSTRETCH_DISABLE;
  if (HAL_I2C_Init(&hi2c3) != HAL_OK)
  {
    Error_Handler();
  }

}

static void MX_TIM2_Init(void)
{

  TIM_ClockConfigTypeDef sClockSourceConfig = {0};
  TIM_MasterConfigTypeDef sMasterConfig = {0};
  TIM_OC_InitTypeDef sConfigOC = {0};

  htim2.Instance = TIM2;
  htim2.Init.Prescaler = 83;
  htim2.Init.CounterMode = TIM_COUNTERMODE_UP;
  htim2.Init.Period = 19999;
  htim2.Init.ClockDivision = TIM_CLOCKDIVISION_DIV1;
  htim2.Init.AutoReloadPreload = TIM_AUTORELOAD_PRELOAD_ENABLE;
  if (HAL_TIM_Base_Init(&htim2) != HAL_OK)
  {
    Error_Handler();
  }
  sClockSourceConfig.ClockSource = TIM_CLOCKSOURCE_INTERNAL;
  if (HAL_TIM_ConfigClockSource(&htim2, &sClockSourceConfig) != HAL_OK)
  {
    Error_Handler();
  }
  if (HAL_TIM_PWM_Init(&htim2) != HAL_OK)
  {
    Error_Handler();
  }
  sMasterConfig.MasterOutputTrigger = TIM_TRGO_RESET;
  sMasterConfig.MasterSlaveMode = TIM_MASTERSLAVEMODE_DISABLE;
  if (HAL_TIMEx_MasterConfigSynchronization(&htim2, &sMasterConfig) != HAL_OK)
  {
    Error_Handler();
  }
  sConfigOC.OCMode = TIM_OCMODE_PWM1;
  sConfigOC.Pulse = 1500;
  sConfigOC.OCPolarity = TIM_OCPOLARITY_HIGH;
  sConfigOC.OCFastMode = TIM_OCFAST_DISABLE;
  if (HAL_TIM_PWM_ConfigChannel(&htim2, &sConfigOC, TIM_CHANNEL_4) != HAL_OK)
  {
    Error_Handler();
  }
  HAL_TIM_MspPostInit(&htim2);

}

static void MX_TIM3_Init(void)
{

  TIM_ClockConfigTypeDef sClockSourceConfig = {0};
  TIM_MasterConfigTypeDef sMasterConfig = {0};
  TIM_OC_InitTypeDef sConfigOC = {0};

  htim3.Instance = TIM3;
  htim3.Init.Prescaler = 83;
  htim3.Init.CounterMode = TIM_COUNTERMODE_UP;
  htim3.Init.Period = 19999;
  htim3.Init.ClockDivision = TIM_CLOCKDIVISION_DIV1;
  htim3.Init.AutoReloadPreload = TIM_AUTORELOAD_PRELOAD_ENABLE;
  if (HAL_TIM_Base_Init(&htim3) != HAL_OK)
  {
    Error_Handler();
  }
  sClockSourceConfig.ClockSource = TIM_CLOCKSOURCE_INTERNAL;
  if (HAL_TIM_ConfigClockSource(&htim3, &sClockSourceConfig) != HAL_OK)
  {
    Error_Handler();
  }
  if (HAL_TIM_PWM_Init(&htim3) != HAL_OK)
  {
    Error_Handler();
  }
  sMasterConfig.MasterOutputTrigger = TIM_TRGO_RESET;
  sMasterConfig.MasterSlaveMode = TIM_MASTERSLAVEMODE_DISABLE;
  if (HAL_TIMEx_MasterConfigSynchronization(&htim3, &sMasterConfig) != HAL_OK)
  {
    Error_Handler();
  }
  sConfigOC.OCMode = TIM_OCMODE_PWM1;
  sConfigOC.Pulse = 1500;
  sConfigOC.OCPolarity = TIM_OCPOLARITY_HIGH;
  sConfigOC.OCFastMode = TIM_OCFAST_DISABLE;
  if (HAL_TIM_PWM_ConfigChannel(&htim3, &sConfigOC, TIM_CHANNEL_1) != HAL_OK)
  {
    Error_Handler();
  }
  HAL_TIM_MspPostInit(&htim3);

}

static void MX_GPIO_Init(void)
{
  GPIO_InitTypeDef GPIO_InitStruct = {0};

  /* GPIO Ports Clock Enable */
  __HAL_RCC_GPIOE_CLK_ENABLE();
  __HAL_RCC_GPIOC_CLK_ENABLE();
  __HAL_RCC_GPIOH_CLK_ENABLE();
  __HAL_RCC_GPIOA_CLK_ENABLE();
  __HAL_RCC_GPIOB_CLK_ENABLE();
  __HAL_RCC_GPIOD_CLK_ENABLE();

  /*Configure GPIO pin Output Level */
  HAL_GPIO_WritePin(GPIOE, LED_BLUE_Pin|GPIO_PIN_13, GPIO_PIN_RESET);

  /*Configure GPIO pin Output Level */
  HAL_GPIO_WritePin(GPIOC, GPIO_PIN_14|GPIO_PIN_15|DHT11_DATA_Pin|GPIO_PIN_4
                          |GPIO_PIN_5|trig_Pin|GPIO_PIN_10, GPIO_PIN_RESET);

  /*Configure GPIO pin Output Level */
  HAL_GPIO_WritePin(GPIOB, LED_Pin|BUZZER_Pin, GPIO_PIN_RESET);

  /*Configure GPIO pin Output Level */
  HAL_GPIO_WritePin(GPIOD, GPIO_PIN_12|GPIO_PIN_13|led_Pin|buzzer_Pin, GPIO_PIN_RESET);

  /*Configure GPIO pin Output Level */
  HAL_GPIO_WritePin(GPIOA, LED_GREEN_Pin|LED_RED_Pin, GPIO_PIN_RESET);

  /*Configure GPIO pins : LED_BLUE_Pin PE13 */
  GPIO_InitStruct.Pin = LED_BLUE_Pin|GPIO_PIN_13;
  GPIO_InitStruct.Mode = GPIO_MODE_OUTPUT_PP;
  GPIO_InitStruct.Pull = GPIO_NOPULL;
  GPIO_InitStruct.Speed = GPIO_SPEED_FREQ_LOW;
  HAL_GPIO_Init(GPIOE, &GPIO_InitStruct);

  /*Configure GPIO pins : PC14 PC15 PC4 PC5
                           trig_Pin PC10 */
  GPIO_InitStruct.Pin = GPIO_PIN_14|GPIO_PIN_15|GPIO_PIN_4|GPIO_PIN_5
                          |trig_Pin|GPIO_PIN_10;
  GPIO_InitStruct.Mode = GPIO_MODE_OUTPUT_PP;
  GPIO_InitStruct.Pull = GPIO_NOPULL;
  GPIO_InitStruct.Speed = GPIO_SPEED_FREQ_LOW;
  HAL_GPIO_Init(GPIOC, &GPIO_InitStruct);

  /*Configure GPIO pin : DHT11_DATA_Pin */
  GPIO_InitStruct.Pin = DHT11_DATA_Pin;
  GPIO_InitStruct.Mode = GPIO_MODE_OUTPUT_PP;
  GPIO_InitStruct.Pull = GPIO_PULLUP;
  GPIO_InitStruct.Speed = GPIO_SPEED_FREQ_LOW;
  HAL_GPIO_Init(DHT11_DATA_GPIO_Port, &GPIO_InitStruct);

  /*Configure GPIO pin : PE14 */
  GPIO_InitStruct.Pin = GPIO_PIN_14;
  GPIO_InitStruct.Mode = GPIO_MODE_INPUT;
  GPIO_InitStruct.Pull = GPIO_PULLDOWN;
  HAL_GPIO_Init(GPIOE, &GPIO_InitStruct);

  /*Configure GPIO pins : LED_Pin BUZZER_Pin */
  GPIO_InitStruct.Pin = LED_Pin|BUZZER_Pin;
  GPIO_InitStruct.Mode = GPIO_MODE_OUTPUT_PP;
  GPIO_InitStruct.Pull = GPIO_NOPULL;
  GPIO_InitStruct.Speed = GPIO_SPEED_FREQ_LOW;
  HAL_GPIO_Init(GPIOB, &GPIO_InitStruct);

  /*Configure GPIO pins : PD12 PD13 led_Pin buzzer_Pin */
  GPIO_InitStruct.Pin = GPIO_PIN_12|GPIO_PIN_13|led_Pin|buzzer_Pin;
  GPIO_InitStruct.Mode = GPIO_MODE_OUTPUT_PP;
  GPIO_InitStruct.Pull = GPIO_NOPULL;
  GPIO_InitStruct.Speed = GPIO_SPEED_FREQ_LOW;
  HAL_GPIO_Init(GPIOD, &GPIO_InitStruct);

  /*Configure GPIO pin : echo_Pin */
  GPIO_InitStruct.Pin = echo_Pin;
  GPIO_InitStruct.Mode = GPIO_MODE_INPUT;
  GPIO_InitStruct.Pull = GPIO_PULLDOWN;
  HAL_GPIO_Init(echo_GPIO_Port, &GPIO_InitStruct);

  /*Configure GPIO pins : LED_GREEN_Pin LED_RED_Pin */
  GPIO_InitStruct.Pin = LED_GREEN_Pin|LED_RED_Pin;
  GPIO_InitStruct.Mode = GPIO_MODE_OUTPUT_PP;
  GPIO_InitStruct.Pull = GPIO_NOPULL;
  GPIO_InitStruct.Speed = GPIO_SPEED_FREQ_LOW;
  HAL_GPIO_Init(GPIOA, &GPIO_InitStruct);

}

void Error_Handler(void)
{
  __disable_irq();
  while (1)
  {
  }
}
